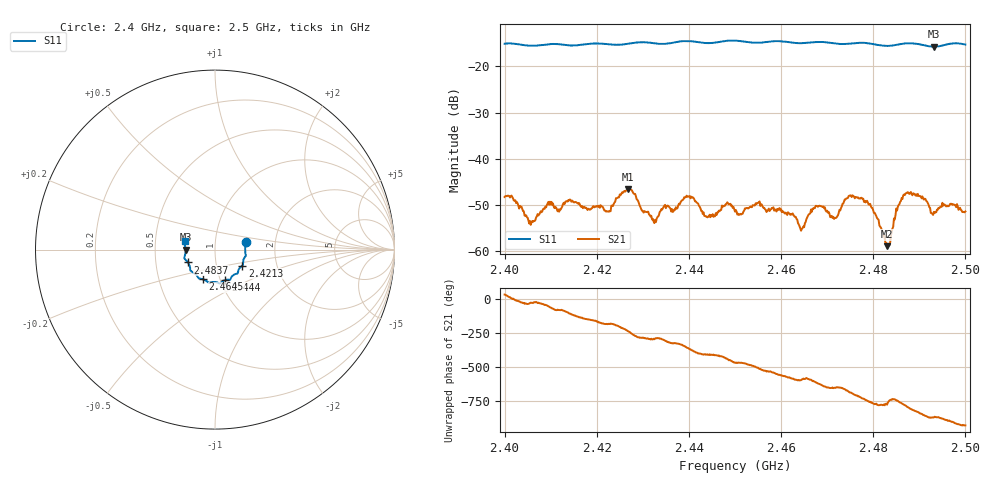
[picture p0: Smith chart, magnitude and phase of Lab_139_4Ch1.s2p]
# Hz S RI R 50
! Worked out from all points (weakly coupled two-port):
!   601 points, 2.4 GHz to 2.5 GHz, reference 50 ohm
!   highest |S21| = -46.63 dB at 2.4268 GHz (marker M1); lowest = -59.0 dB at 2.483 GHz (marker M2)
!   lowest |S11| = -15.7 dB at 2.4932 GHz (marker M3), VSWR 1.39, Z = 36 - j0.0495 ohm
!   |S11| at or under -10 dB: start of sweep to end of sweep
!   S12 and S22 are empty: the file has one direction only
!   S11 on the Smith chart (normalised r, x): 2.4 GHz: 1.41, +0.12; 2.4213 GHz: 1.33, -0.25; 2.444 GHz: 1.06, -0.37; 2.4645 GHz: 0.83, -0.29; 2.4837 GHz: 0.73, -0.11; 2.5 GHz: 0.71, +0.07
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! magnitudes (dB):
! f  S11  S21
! 2.4 GHz  -15.1  -48.3
! 2.4057 GHz  -15.5  -54.3
! 2.4097 GHz  -15.2  -50.0
! 2.4167 GHz  -15.3  -50.5
! 2.4213 GHz  -15.1  -50.5
! 2.4268 GHz  -15.1  -46.6
! 2.4333 GHz  -15.1  -52.5
! 2.4397 GHz  -14.5  -48.2
! 2.444 GHz  -15.0  -52.7
! 2.45 GHz  -14.4  -51.5
! 2.4553 GHz  -14.9  -49.3
! 2.4645 GHz  -15.0  -55.2
! 2.4667 GHz  -14.8  -51.5
! 2.4717 GHz  -15.0  -52.8
! 2.4745 GHz  -15.1  -48.5
! 2.4773 GHz  -14.9  -48.5
! 2.483 GHz  -15.6  -59.0
! 2.4833 GHz  -15.6  -58.7
! 2.4837 GHz  -15.5  -58.3
! 2.487 GHz  -15.0  -47.5
! 2.4932 GHz  -15.7  -51.5
! 2.5 GHz  -15.3  -51.4
